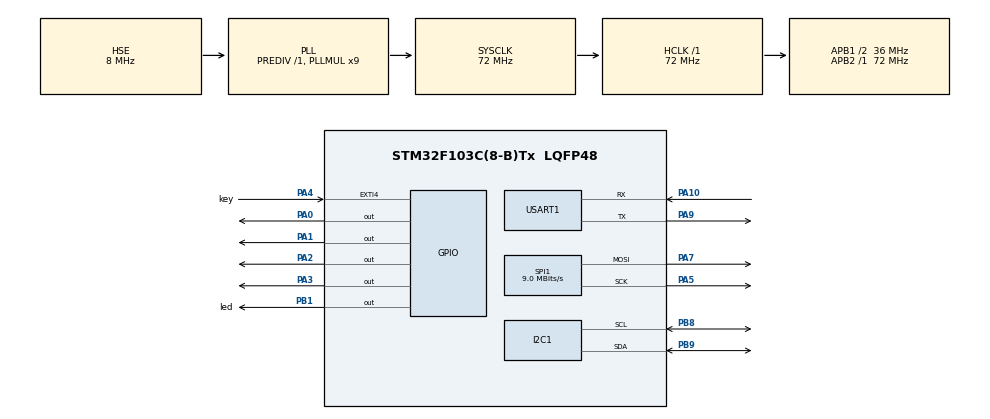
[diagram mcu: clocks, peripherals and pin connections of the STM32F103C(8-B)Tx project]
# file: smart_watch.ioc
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FREERTOS.Queues01=algo_q,8,1,1,Dynamic,NULL,NULL;ui_q,16,1,1,Dynamic,NULL,NULL
FREERTOS.Tasks01=ble,16,256,StartBleTask,Default,NULL,Dynamic,NULL,NULL;algo,40,128,StartAlgoTask,Default,NULL,Dynamic,NULL,NULL;key,32,128,StartKeyTask,Default,NULL,Dynamic,NULL,NULL;ui,24,256,StartUiTask,Default,NULL,Dynamic,NULL,NULL;wdg,8,128,StartWdgTask,Default,NULL,Dynamic,NULL,NULL
FREERTOS.configTOTAL_HEAP_SIZE=10240
I2C1.I2C_Mode=I2C_Fast
IWDG.Prescaler=IWDG_PRESCALER_64
IWDG.Reload=2500
Mcu.Family=STM32F1
Mcu.Name=STM32F103C(8-B)Tx
Mcu.Package=LQFP48
NVIC.EXTI4_IRQn=true\:5\:0\:false\:false\:true\:true\:true\:true\:true
NVIC.PriorityGroup=NVIC_PRIORITYGROUP_4
NVIC.TIM1_UP_IRQn=true\:15\:0\:false\:false\:true\:false\:false\:true\:true
NVIC.TimeBase=TIM1_UP_IRQn
NVIC.TimeBaseIP=TIM1
PA0-WKUP.PinState=GPIO_PIN_SET
PA0-WKUP.Signal=GPIO_Output
PA1.PinState=GPIO_PIN_SET
PA1.Signal=GPIO_Output
PA10.Mode=Asynchronous
PA10.Signal=USART1_RX
PA13.Mode=Serial_Wire
PA13.Signal=SYS_JTMS-SWDIO
PA14.Mode=Serial_Wire
PA14.Signal=SYS_JTCK-SWCLK
PA2.PinState=GPIO_PIN_SET
PA2.Signal=GPIO_Output
PA3.PinState=GPIO_PIN_SET
PA3.Signal=GPIO_Output
PA4.GPIO_Label=key
PA4.GPIO_PuPd=GPIO_PULLDOWN
PA4.Signal=GPXTI4
PA5.Mode=TX_Only_Simplex_Unidirect_Master
PA5.Signal=SPI1_SCK
PA7.Mode=TX_Only_Simplex_Unidirect_Master
PA7.Signal=SPI1_MOSI
PA9.Mode=Asynchronous
PA9.Signal=USART1_TX
PB1.GPIO_Label=led
PB1.GPIO_PuPd=GPIO_PULLUP
PB1.PinState=GPIO_PIN_SET
PB1.Signal=GPIO_Output
PB8.Mode=I2C
PB8.Signal=I2C1_SCL
PB9.Mode=I2C
PB9.Signal=I2C1_SDA
PD0-OSC_IN.Mode=HSE-External-Oscillator
PD0-OSC_IN.Signal=RCC_OSC_IN
PD1-OSC_OUT.Mode=HSE-External-Oscillator
PD1-OSC_OUT.Signal=RCC_OSC_OUT
ProjectManager.HeapSize=0x200
ProjectManager.StackSize=0x400
ProjectManager.TargetToolchain=STM32CubeIDE
RCC.AHBFreq_Value=72000000
RCC.APB1CLKDivider=RCC_HCLK_DIV2
RCC.APB1Freq_Value=36000000
RCC.APB1TimFreq_Value=72000000
RCC.APB2Freq_Value=72000000
RCC.APB2TimFreq_Value=72000000
RCC.HCLKFreq_Value=72000000
RCC.PLLMUL=RCC_PLL_MUL9
RCC.PLLSourceVirtual=RCC_PLLSOURCE_HSE
RCC.SYSCLKFreq_VALUE=72000000
RCC.SYSCLKSource=RCC_SYSCLKSOURCE_PLLCLK
RCC.USBFreq_Value=72000000
SPI1.BaudRatePrescaler=SPI_BAUDRATEPRESCALER_8
SPI1.CalculateBaudRate=9.0 MBits/s
SPI1.Direction=SPI_DIRECTION_2LINES
SPI1.Mode=SPI_MODE_MASTER
SPI1.VirtualType=VM_MASTER
USART1.VirtualMode=VM_ASYNC
VP_FREERTOS_VS_CMSIS_V2.Mode=CMSIS_V2
VP_IWDG_VS_IWDG.Mode=IWDG_Activate
VP_SYS_VS_tim1.Mode=TIM1
board=custom

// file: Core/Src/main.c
/* USER CODE BEGIN Header */
/**
  ******************************************************************************
  * @file           : main.c
  * @brief          : Main program body
  ******************************************************************************
  * @attention
  *
  * Copyright (c) 2026 STMicroelectronics.
  * All rights reserved.
  *
  * This software is licensed under terms that can be found in the LICENSE file
  * in the root directory of this software component.
  * If no LICENSE file comes with this software, it is provided AS-IS.
  *
  ******************************************************************************
  */
/* USER CODE END Header */
#include "main.h"
#include "cmsis_os.h"
#include "i2c.h"
#include "iwdg.h"
#include "usart.h"
#include "gpio.h"
#include "spi.h"

/* USER CODE BEGIN Includes */
#include "lcd.h"
#include "rtc_time.h"
#include "keys.h"
/* USER CODE END Includes */

/* USER CODE BEGIN PD */
/* 备份寄存器"签名"：只有读到它，才认为 DR1~DR9 里的数据是程序认真写过的 */
#define BKP_MAGIC   0x5A5Bu
/* USER CODE END PD */

/* USER CODE BEGIN PV */
volatile uint32_t g_bkp_dr1 = 0;      /* 备份寄存器 DR1 的镜像（调试用） */
volatile uint32_t g_rcc_csr = 0;      /* 复位原因快照（RCC->CSR 的镜像，调试用） */
volatile uint32_t g_last_dead_task = 0;   /* 上次复位前死掉的第几个任务（1 起；0=没死过） */
volatile uint32_t g_last_dead_secs = 0;   /* 它连续停滞了几秒 */
volatile uint32_t g_boot_loop_cnt   = 0;   /* 连续"没活够"的次数 */
volatile uint32_t g_boot_loop_guard = 0;   /* 1 = 判定疑似 boot loop（本步只观测） */
volatile uint32_t g_alive_sec          = 0;   /* 本次启动已经活了多少秒 */
volatile uint32_t g_boot_loop_healthy  = 0;   /* 1 = 已经上报"活够了" */
/* ↓↓↓ 诊断用：给"调度器启动前"这段打表（看门狗已在计时，这段必须短）↓↓↓ */
volatile uint32_t g_scan_ms  = 0;   /* 总线体检(i2c_selftest) 耗时 ms */
volatile uint32_t g_init_ms  = 0;   /* 显示初始化(lcd_init) 耗时 ms */
volatile uint32_t g_boot_ms  = 0;   /* main 从复位到"进调度器前"的总耗时 ms */
/* USER CODE END PV */

void SystemClock_Config(void);
void MX_FREERTOS_Init(void);

int main(void)
{

  /* MCU Configuration--------------------------------------------------------*/

  /* Reset of all peripherals, Initializes the Flash interface and the Systick. */
   HAL_Init();

  /* Configure the system clock */
  SystemClock_Config();

  /* Initialize all configured peripherals */
  MX_GPIO_Init();
  MX_SPI1_Init();
  MX_I2C1_Init();
  MX_USART1_UART_Init();
  /* MX_IWDG_Init(); ← 故意不在这里调用：看门狗一通电就开始数秒、中途没法暂停，
     而下面的启动体检最坏要跑好几秒，"开早了"的结果就是上电即复位的无限重启。
     已挪到本函数末尾 USER CODE BEGIN 2 里，见那里的说明。
     ⚠ 用 CubeMX 重新生成代码会把这一行加回来，届时记得再删掉一次。 */
  /* USER CODE BEGIN 2 */
  /* ---- 三个按键：PB5 / PB6 的 EXTI 配置 -------------------------------
   * 放在 USER CODE 区而不是 gpio.c：那边是 CubeMX 生成区，重新生成会丢。
   * PA4 已经在 MX_GPIO_Init() 里配好了，这里只补新增的两个。
   * ------------------------------------------------------------------ */
  keys_init();

  /* ---- 备份域：跨复位保留的自留地 ------------------------------------
   * ① 三个前提缺一不可，少一个就是"静默失败"（写不进去还不报错）
   * ② DR1 = 复位计数；DR10 = 签名；DR3/DR4 留给"死亡档案"（谁死的+停滞秒数）
   * ③ 备份寄存器实际只有低 16 位可用（头文件虽声明成 uint32_t）
   * ------------------------------------------------------------------ */
  __HAL_RCC_PWR_CLK_ENABLE();          /* 前提 1：PWR 时钟 */
  __HAL_RCC_BKP_CLK_ENABLE();          /* 前提 2：BKP 时钟 */
  HAL_PWR_EnableBkUpAccess();          /* 前提 3：解除备份域写保护（DBP 位） */

  /* ---- 时间子系统：★ 必须放在所有 BKP 读写之前 -------------------------
   * 原因：rtc_time_init() 在"备份域已经丢了、需要重新配置 RTC"时会执行
   * BDRST（备份域复位），而 BKP->DR1~DR10 就住在那个域里 —— 放后面会把
   * 复位计数、死亡档案、boot loop 计数统统抹掉。
   * 反过来放这里就没事：它只在真断电（那些数据本来也已经丢了）或者 RTC
   * 时钟源发生变化时才复位；软复位（看门狗复位是常态）时备份域还活着、
   * RTC 也还在走，它什么都不动。
   * ------------------------------------------------------------------ */
  rtc_time_init();

  if (BKP->DR10 != BKP_MAGIC)          /* 没读到签名 → 这份数据不可信 */
  {
    BKP->DR1  = 0;                     /* （首次上电 / 被清过）计数从 0 开始 */
    BKP->DR2 = 0;                      /* 连续次数一并作废（否则"改签名"重置不掉防护状态） */
    BKP->DR3  = 0;                     /* 死亡档案一并作废（0 = 无记录） */
    BKP->DR4  = 0;
    BKP->DR10 = BKP_MAGIC;             /* 打上签名：从此刻起数据有效 */
  }

  BKP->DR1++;                          /* 复位次数 +1 */
  g_bkp_dr1 = BKP->DR1;                /* 镜像到普通变量，供现场表达式观察 */
  g_last_dead_task = BKP->DR3;         /* 读上次的死亡档案：第几个任务（0 = 没死过） */
  g_last_dead_secs = BKP->DR4;         /*                       它停滞了几秒 */

  /* ---- 复位原因：硬件自动记录的"黑匣子" -------------------------------
   * bit27 PORRSTF  上电/掉电复位  ← 真正断过电才会有
   * bit29 IWDGRSTF 独立看门狗复位 ← 看门狗干的
   * bit26 PINRSTF  引脚复位（NRST 键 / 调试器复位）
   * bit28 SFTRSTF  软件复位；bit30 WWDGRSTF 窗口看门狗；bit31 LPWRRSTF 低功耗
   * 标志位是"粘滞"的，读一次就清一次，下次复位才判得准
   * ------------------------------------------------------------------ */
  g_rcc_csr = RCC->CSR;                /* 先快照（调试器求值不了 RCC，因为它也是宏） */
  RCC->CSR |= RCC_CSR_RMVF;            /* 再清标志（写 1 清），为下次复位做准备 */

  if (BKP->DR2 == BKP_HEALTHY)
  {
	  g_boot_loop_cnt = 1;
  }
  else
  {
	  g_boot_loop_cnt = BKP -> DR2 + 1;
  }
  BKP -> DR2 = (uint16_t)g_boot_loop_cnt;
  g_boot_loop_guard = (g_boot_loop_cnt >= BOOT_LOOP_MAX) ? 1u : 0u;

  /* 开机体检：I2C 总线上都有谁（结果看 g_i2c_found / g_i2c_addr1 /
   * g_i2c_addr2，本项目预期扫到 0x68 = MPU6050）。放在调度器启动前是白送的
   * —— 此刻没有任务，扫描最坏阻塞约 1 秒也不影响任何心跳。*/
  i2c_selftest();
  g_scan_ms = HAL_GetTick();           /* 诊断：进调度器前已耗时（体检含在内） */

  g_boot_ms = HAL_GetTick();           /* 诊断：main 到"进调度器前"的总耗时 */

  /* ---- 看门狗：等"系统准备好被监督"这一刻才武装 -------------------------
   * ① HAL_IWDG_Init() 一执行，IWDG 立刻开始倒数，装完就算、中途无法暂停；
   * ② 第一次喂狗要等 wdg 任务跑完 osDelay(1000)，所以留给
   *    "复位 → 调度器起来 + 1 s"的预算只有约 3 秒（IWDG 超时约 4 s）；
   * ③ 上面的启动体检最坏能吃掉好几秒（I2C 卡死时每个地址要白等 25 ms 的
   *    固定 BUSY 超时，112 个地址就是 2.8 s），一超就是"上电即复位"；
   * ④ 而且那次复位发生在调度器启动之前，wdg 任务永远跑不到，
   *    g_boot_loop_guard 那套 boot loop 防护也救不回来 —— 直接死循环。
   * 所以：启动逻辑全部跑完，再打开看门狗。
   * -------------------------------------------------------------------- */
  /* ---- 屏幕上电自检：黑 → 白 → 红 → 绿 → 蓝，各 0.25 秒 ----------------
   * 留着这段不是为了好看，它是个"不用调试器就能判断屏还活着"的探针：
   * 显示链路任何一环断了（背光、接触不良、SPI、初始化序列），上电一眼可见。
   * 而这套东西的 8 根杜邦线确实接触不良过一次，代价是查了小半天。
   *
   * 顺序也不是随便排的，"黑"放第一个是判读需要：
   *   ST7789 上电未经初始化时屏本身就是白的（GRAM 内容不定 + IPS 面板）；
   *   初始化完了但一个像素都没写进去、GRAM 全 0x0000 再被 INVON 反显，
   *   同样也是白的 —— 所以"看到白色"区分不了这两种情况，什么也证明不了。
   *   只有真的刷黑了，才说明 命令 → 窗口 → 像素 这条通路是通的。
   *
   * 放在 MX_IWDG_Init() 之前：这段阻塞正好落在"看门狗还没武装"的窗口里。
   * 别让看门狗和长阻塞共存于同一时间窗（09-26 的教训）。
   *
   * 发送次数 = 9(lcd_init) + 5 × 245(每次刷屏) = 1234，对照 g_spi_tx_ok 用。
   * -------------------------------------------------------------------- */
  uint32_t t_lcd = HAL_GetTick();
  lcd_init();
  g_init_ms = HAL_GetTick() - t_lcd;   /* 诊断：显示初始化耗时（含约 380 ms 的各种等待） */

  lcd_clear(LCD_BLACK); HAL_Delay(250);
  lcd_clear(LCD_WHITE); HAL_Delay(250);
  lcd_clear(LCD_RED);   HAL_Delay(250);
  lcd_clear(LCD_GREEN); HAL_Delay(250);
  lcd_clear(LCD_BLUE);  HAL_Delay(250);
  lcd_clear(LCD_BLACK);                /* 收在黑底：接下来 ui 任务直接在它上面画 */

  MX_IWDG_Init();
  /* USER CODE END 2 */

  /* Init scheduler */
  osKernelInitialize();  /* Call init function for freertos objects (in cmsis_os2.c) */
  MX_FREERTOS_Init();

  /* Start scheduler */
  osKernelStart();

  /* Infinite loop */
  while (1)
  {

  }
}

void SystemClock_Config(void)
{
  RCC_OscInitTypeDef RCC_OscInitStruct = {0};
  RCC_ClkInitTypeDef RCC_ClkInitStruct = {0};

  /** Initializes the RCC Oscillators according to the specified parameters
  * in the RCC_OscInitTypeDef structure.
  */
  RCC_OscInitStruct.OscillatorType = RCC_OSCILLATORTYPE_LSI|RCC_OSCILLATORTYPE_HSE;
  RCC_OscInitStruct.HSEState = RCC_HSE_ON;
  RCC_OscInitStruct.HSEPredivValue = RCC_HSE_PREDIV_DIV1;
  RCC_OscInitStruct.HSIState = RCC_HSI_ON;
  RCC_OscInitStruct.LSIState = RCC_LSI_ON;
  RCC_OscInitStruct.PLL.PLLState = RCC_PLL_ON;
  RCC_OscInitStruct.PLL.PLLSource = RCC_PLLSOURCE_HSE;
  RCC_OscInitStruct.PLL.PLLMUL = RCC_PLL_MUL9;
  if (HAL_RCC_OscConfig(&RCC_OscInitStruct) != HAL_OK)
  {
    Error_Handler();
  }

  /** Initializes the CPU, AHB and APB buses clocks
  */
  RCC_ClkInitStruct.ClockType = RCC_CLOCKTYPE_HCLK|RCC_CLOCKTYPE_SYSCLK
                              |RCC_CLOCKTYPE_PCLK1|RCC_CLOCKTYPE_PCLK2;
  RCC_ClkInitStruct.SYSCLKSource = RCC_SYSCLKSOURCE_PLLCLK;
  RCC_ClkInitStruct.AHBCLKDivider = RCC_SYSCLK_DIV1;
  RCC_ClkInitStruct.APB1CLKDivider = RCC_HCLK_DIV2;
  RCC_ClkInitStruct.APB2CLKDivider = RCC_HCLK_DIV1;

  if (HAL_RCC_ClockConfig(&RCC_ClkInitStruct, FLASH_LATENCY_2) != HAL_OK)
  {
    Error_Handler();
  }
}

void HAL_TIM_PeriodElapsedCallback(TIM_HandleTypeDef *htim)
{
  if (htim->Instance == TIM1)
  {
    HAL_IncTick();
  }
}

void Error_Handler(void)
{
  __disable_irq();
  while (1)
  {
  }
}

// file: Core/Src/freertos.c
/* USER CODE BEGIN Header */
/**
 ******************************************************************************
 * File Name          : freertos.c
 * Description        : Code for freertos applications
 ******************************************************************************
 * @attention
 *
 * Copyright (c) 2026 STMicroelectronics.
 * All rights reserved.
 *
 * This software is licensed under terms that can be found in the LICENSE file
 * in the root directory of this software component.
 * If no LICENSE file comes with this software, it is provided AS-IS.
 *
 ******************************************************************************
 */
/* USER CODE END Header */

#include "FreeRTOS.h"
#include "task.h"
#include "main.h"
#include "cmsis_os.h"

/* USER CODE BEGIN Includes */
#include "iwdg.h"
#include "app_events.h"
#include "mpu6050.h"
#include "i2c.h"
#include "lcd.h"
#include "step.h"
#include "rtc_time.h"
#include "keys.h"
/* USER CODE END Includes */

/* USER CODE BEGIN PTD */
typedef struct {
	const char *name; /* ── 配置 ── 任务名 */
	volatile uint32_t *hb; /* ── 配置 ── 监控谁 */
	uint32_t limit; /* ── 配置 ── 连续停滞几秒判定卡死 */
	uint32_t last; /* ── 状态 ── 上一秒快照 */
	uint32_t stall_sec; /* ── 状态 ── 连续停滞秒数 */
} hb_mon_t;
/* USER CODE END PTD */

/* USER CODE BEGIN PD */
/* 按键有效电平：PA4 配的是“上升沿 + 无上下拉”，即按下被外部拉到高电平 */
/* 如果板子实际是“按下接地”，改成 GPIO_PIN_RESET，并把 EXTI 触发沿改成下降沿 */
#define KEY_ACTIVE_LEVEL   GPIO_PIN_SET
#define KEY_SCAN_MS        20u    /* 按下后先等这么久再采样 = 消抖窗口 */
#define ALGO_PERIOD_MS     20u    /* algo 节拍，以后挂采样/滤波 */

/* ---- 屏幕布局（240x240）----------------------------------------------
 * 数字是照着 8x16 字库的格子算的，改之前先算一遍：
 *   一行 = 240/8 = 30 个字符，一屏 = 240/16 = 15 行。
 *   字号 scale=1 时一个字符占 8x16。
 * 三条柱状条纵向排开：36 / 100 / 164 起，各高 48，最低一条到 212，屏内。
 * -------------------------------------------------------------------- */
#define UI_TITLE_X     6u
#define UI_TITLE_Y     4u
#define UI_RULE_Y      26u      /* 标题下的分隔线 */

#define UI_BAR_X       22u      /* 柱状条左端 */
#define UI_BAR_W       140u     /* 条宽；中心线在正中，半宽 = 70 */
#define UI_BAR_H       48u      /* 条高 */
#define UI_BAR_Y0      36u      /* 第一条的顶边 */
#define UI_BAR_STEP    64u      /* 相邻两条的距离（48 高 + 16 空隙） */

#define UI_LABEL_X     4u       /* "X"/"Y"/"Z" 标签 */
#define UI_VALUE_X     172u     /* 数值区起点 */
#define UI_VALUE_W     64u      /* 数值区宽度（8 个字符），用来擦掉上次的残留 */

#define UI_INFO_X      6u       /* INFO 页标签列 */
#define UI_INFO_NUM_X  120u     /* INFO 页数值列 */
#define UI_INFO_NUM_W  88u      /* INFO 页数值区宽度（11 个字符），同样是拿来擦残留的 */
#define UI_INFO_Y0     40u
#define UI_INFO_STEP   22u
#define UI_INFO_LINES  9u       /* INFO 页行数。差分刷新要按行记住上一次的值 */

/* STEP 页：步数用大字号居中，下面三行是调阀值用的观测量 */
#define UI_STEP_NUM_Y  76u      /* 步数大字顶边 */
#define UI_STEP_NUM_H  48u      /* = 16 × UI_STEP_SCALE */
#define UI_STEP_SCALE   3u      /* 3 倍放大 → 24x48 一个字符，5 位数正好 120 px 宽 */
#define UI_STEP_DBG_Y  124u     /* 调试量起始行 */
#define UI_STEP_LINES   4u      /* 给底部的二次确认提示腾出一行 */

/* 二次确认提示那一行的位置 */
#define UI_HINT_Y      (UI_STEP_DBG_Y + 4u * UI_INFO_STEP)

/* ui_kv_line 的差分记账是 INFO / STEP 两页共用一个数组，用下标区间分开 */
#define UI_KV_LINES    (UI_INFO_LINES + UI_STEP_LINES)
#define UI_KV_STEP     UI_INFO_LINES    /* STEP 页的起始下标（跟着 INFO 行数走，别写死） */

/* CLOCK 页：时间用大字号，日期在下面 */
#define UI_CLK_TIME_Y      58u      /* HH:MM:SS 顶边 */
#define UI_CLK_TIME_SCALE   3u      /* 3 倍 → 24x48；8 个字符正好 192 px 宽 */
#define UI_CLK_DATE_Y     130u
#define UI_CLK_DATE_SCALE   2u      /* 2 倍 → 16x32；10 个字符 = 160 px 宽 */
#define UI_CLK_WDAY_Y     184u

/* ---- 菜单卡片 ---------------------------------------------------------
 * 一个细分页面 = 一张卡片。三张竖排，选中的用青色边框 + 白字，
 * 没选中的压暗。48 高 + 8 间隔，三张占 44~204，屏内。 */
#define UI_CARD_X       20u
#define UI_CARD_W      200u
#define UI_CARD_H       48u
#define UI_CARD_Y0      44u
#define UI_CARD_STEP    56u
#define UI_CARD_BORDER   2u

#define UI_TEXT_DY     16u      /* 条内标签/数值的纵向偏移：条高 48、字高 16，正好居中 */

/* 数值文字的死区（LSB）。不加它的话，静止时加速度那 ±1 的抖动会让文字
 * 每帧重画一次，看上去就是数字在原地抖 —— 比不刷新更难受。 */
#define UI_VALUE_DEADBAND  16

/* ui 循环节拍。50 ms 是差分刷新之后才敢用的：一帧的 SPI 传输量从约 70 KB
 * 降到几百字节，才轮得到聊"跟不跟手"。之前 200 ms 一帧光刷屏就占掉一半时间。 */
#define UI_PERIOD_MS   50u
/* USER CODE END PD */

/* USER CODE BEGIN Variables */
/* ---- 心跳：每个任务各一个，调试器里挂 Live Expressions 看谁死了 ---- */
volatile uint32_t g_hb_algo = 0;
volatile uint32_t g_hb_key = 0;
volatile uint32_t g_hb_ui = 0;
volatile uint32_t g_hb_ble = 0;
volatile uint32_t g_hb_wdg = 0;

/* ---- 队列收发统计：g_evt_sent 应当 ≈ g_evt_recv ---- */
volatile uint32_t g_evt_sent = 0; /* 成功放进队列的次数   */
volatile uint32_t g_evt_recv = 0; /* 成功取出的次数       */
volatile uint32_t g_evt_putfail = 0; /* 队列满、发失败的次数 */
volatile uint32_t g_evt_unknown = 0; /* 收到不认识的事件码   */
volatile uint32_t g_evt_err = 0; /* 其它错误码           */
volatile uint32_t g_evt_timeout = 0; /* M2 遗留：algo 改成非阻塞 drain 后就没用了，M3 重写完可删 */

/* ---- M3 按键链路 4 级流水，卡在哪一级一眼就看出来 ---- */
volatile uint32_t g_key_irq = 0; /* ① EXTI 中断次数（含抖动） */
volatile uint32_t g_key_bounce = 0; /* ② 消抖吃掉的毛刺 / 抖完自己弹回 */
volatile uint32_t g_key_evt = 0; /* ③ 确认成立并投进 algo_q 的按键 */
volatile uint32_t g_algo_key = 0; /* ④ algo 处理掉的按键事件 */
volatile uint8_t  g_mpu_who = 0;   /* 芯片自报身份，期望 0x68 */
volatile uint32_t g_mpu_err = 0;   /* 非 HAL_OK 的次数，期望 0*/
volatile uint32_t g_mpu_st  = 0;   /* 最近一次的 HAL */

 /* ---- ui 侧 ---- */
volatile uint32_t g_ui_evt = 0; /* ui 收到的事件数 */
volatile uint32_t g_ui_refresh = 0; /* 预留：ui 真正画完一屏的次数（目前还没有人给它赋值） */
volatile uint32_t g_ui_timeout = 0; /* ui 超时醒来的次数（正常） */
volatile uint32_t g_ui_put = 0; /* key 成功投进 ui_q 的次数 */
volatile uint32_t g_ui_putfail = 0; /* ui_q 满、投失败的次数   */
volatile uint32_t g_dead_secs = 0; /* 有过"被判死任务"的秒数 */
#ifdef DEBUG
volatile uint32_t g_force_dead = 0; /* 调试钩子：置 1 假装有任务卡死（仅 Debug 构建存在） */
#endif
volatile uint32_t g_wdg_degraded = 0; /* 带病喂狗秒数：dead > 0 但因 guard 被豁免的次数 */
volatile int16_t g_ax = 0;
volatile int16_t g_ay = 0;
volatile int16_t g_az = 0;
volatile int16_t g_axf = 0;
volatile int16_t g_ayf = 0;
volatile int16_t g_azf = 0;
hb_mon_t g_mon[] = {
  { .name = "algo", .hb = &g_hb_algo, .limit = 2 },
  { .name = "ui",   .hb = &g_hb_ui,   .limit = 2 },
  { .name = "ble",  .hb = &g_hb_ble,  .limit = 3 },
};

/* ---- UI 页面模型 ---------------------------------------------------
 * 页面数量由"有独立数据可展示"决定，不拍脑袋加。
 * PAGE_MAX 是哨兵：它自己不是页面，只用来取模 / 设边界。
 * ------------------------------------------------------------------ */

 typedef enum {
	 PAGE_CLOCK = 0,     /* 时间 —— ★ 主页 */
	 PAGE_STEP,          /* 步数 */
	 PAGE_ACCEL,         /* 三轴柱状条（原来的 HOME） */
	 PAGE_INFO,          /* 系统状态 */
	 PAGE_MAX
 } page_id_t;

 /* ── UI 三个状态 ────────────────────────────────────────────────────────
  * 组长说过的那套导航：
  *   主页(时间)  --任意键-->  菜单(卡片)  --左右选、中键进-->  细分页
  *   细分页里三个键换语义：左=返回上一步、中=确认、右=回到主页
  * ------------------------------------------------------------------- */
 typedef enum {
	 UI_MODE_MAIN = 0,   /* 主页：时间 */
	 UI_MODE_MENU,       /* 菜单：卡片选择 */
	 UI_MODE_DETAIL      /* 细分页 */
 } ui_mode_t;

 /* 菜单里能选哪几页。时间不在其中 —— 它本身就是主页。 */
 typedef enum {
	 MENU_STEP = 0,
	 MENU_ACCEL,
	 MENU_INFO,
	 MENU_MAX
 } menu_id_t;

 static const uint8_t s_menu_pages[MENU_MAX] = { PAGE_STEP, PAGE_ACCEL, PAGE_INFO };
 static const char *const s_menu_names[MENU_MAX] = { "步数", "三轴", "系统" };

 /* 二次确认的窗口：第一次按只提示，这段时间内再按才真的执行。
  * 之所以要做：步数清零是不可逆的，按一下就丢数据太危险。 */
 #define UI_CONFIRM_MS   3000u

volatile uint32_t g_ui_page    = 0;  /* 当前页面编号（镜像，供观测） */
volatile uint32_t g_ui_page_sw = 0;  /* 累计切换次数 */
volatile uint32_t g_ui_mode    = 0;  /* UI_MODE_MAIN / MENU / DETAIL */
volatile uint32_t g_ui_menu_sel = 0; /* 菜单里选中的第几项 */
volatile uint32_t g_ui_detail  = 0;  /* 细分页对应的菜单下标 */

#define MON_COUNT (sizeof(g_mon) / sizeof(g_mon[0]))

volatile uint32_t g_stall_any = 0; /* 本秒有几个任务停滞（0 = 全健康） */

osSemaphoreId_t key_semHandle;
const osSemaphoreAttr_t key_sem_attributes = { .name = "key_sem" };
osMutexId_t i2c_mutexHandle;
const osMutexAttr_t i2c_mutex_attributes = { .name = "i2c_mutex" };

/* USER CODE END Variables */
/* Definitions for ble */
osThreadId_t bleHandle;
const osThreadAttr_t ble_attributes = {
  .name = "ble",
  .stack_size = 256 * 4,
  .priority = (osPriority_t) osPriorityBelowNormal,
};
/* Definitions for algo */
osThreadId_t algoHandle;
const osThreadAttr_t algo_attributes = {
  .name = "algo",
  .stack_size = 128 * 4,
  .priority = (osPriority_t) osPriorityHigh,
};
/* Definitions for key */
osThreadId_t keyHandle;
const osThreadAttr_t key_attributes = {
  .name = "key",
  .stack_size = 128 * 4,
  .priority = (osPriority_t) osPriorityAboveNormal,
};
/* Definitions for ui */
osThreadId_t uiHandle;
const osThreadAttr_t ui_attributes = {
  .name = "ui",
  /* ★ 从 256 加到 320。原因：ui 现在的调用链一路要走到
   * lcd_draw_str → lcd_draw_char → st7789_fill_rect → st_set_window →
   * HAL_SPI_Transmit，用 -fstack-usage 量出来光链子本身就约 300 字节，
   * 还要加上 HAL 内部开销和中断压栈。256 字（1KB）没溢出，但余量只剩一倍多，
   * 而 configCHECK_FOR_STACK_OVERFLOW 没开 —— 栈溢出在 F103 上是静默踩内存，
   * 表现为莫名其妙的死机，不值得为省 256 字节冒这个险。
   * heap 总共 10KB、只用了约 4.4KB，加这 256 字节绰绰有余。
   * ⚠ CubeMX 重新生成代码会把它改回 256，届时记得再改一次。 */
  .stack_size = 320 * 4,
  .priority = (osPriority_t) osPriorityNormal,
};
/* Definitions for wdg */
osThreadId_t wdgHandle;
const osThreadAttr_t wdg_attributes = {
  .name = "wdg",
  .stack_size = 128 * 4,
  .priority = (osPriority_t) osPriorityLow,
};
/* Definitions for algo_q */
osMessageQueueId_t algo_qHandle;
const osMessageQueueAttr_t algo_q_attributes = {
  .name = "algo_q"
};
/* Definitions for ui_q */
osMessageQueueId_t ui_qHandle;
const osMessageQueueAttr_t ui_q_attributes = {
  .name = "ui_q"
};

/* USER CODE BEGIN FunctionPrototypes */
static void death_log_save(void);   /* 停喂前把"死因"写进备份寄存器 */
static void ui_invalidate(void);
static void ui_render(void);
static void ui_handle_key(evt_t ev);
static void ui_confirm_tick(void);
static void ui_bar_update(uint8_t idx, uint16_t y, char label, int16_t v);
static void ui_confirm_hint(void);
static void ui_kv_line(uint8_t idx, uint16_t y, const char *label, uint32_t value);
static void ui_step_page(void);
static void ui_info_page(void);
static void ui_clock_page(void);
static void ui_accel_page(void);
static void ui_menu_page(void);
static const char *ui_title_of(uint8_t page);
static void ui_page_body(uint8_t page);
static void ui_two(char *p, uint8_t v);
static void ui_rtc_line(uint16_t y);
/* USER CODE END FunctionPrototypes */

void StartBleTask(void *argument);
void StartAlgoTask(void *argument);
void StartKeyTask(void *argument);
void StartUiTask(void *argument);
void StartWdgTask(void *argument);

void MX_FREERTOS_Init(void); /* (MISRA C 2004 rule 8.1) */

void MX_FREERTOS_Init(void) {

  /* USER CODE BEGIN RTOS_MUTEX */

	 i2c_mutexHandle = osMutexNew(&i2c_mutex_attributes);

  /* USER CODE END RTOS_MUTEX */

  /* USER CODE BEGIN RTOS_SEMAPHORES */
	key_semHandle = osSemaphoreNew(1u, 0u, &key_sem_attributes); /* 二值信号量，初始无信号 */
	/* add semaphores, ... */
  /* USER CODE END RTOS_SEMAPHORES */

  /* Create the queue(s) */
  /* creation of algo_q */
  algo_qHandle = osMessageQueueNew (8, 1, &algo_q_attributes);

  /* creation of ui_q */
  ui_qHandle = osMessageQueueNew (16, 1, &ui_q_attributes);

  /* Create the thread(s) */
  /* creation of ble */
  bleHandle = osThreadNew(StartBleTask, NULL, &ble_attributes);

  /* creation of algo */
  algoHandle = osThreadNew(StartAlgoTask, NULL, &algo_attributes);

  /* creation of key */
  keyHandle = osThreadNew(StartKeyTask, NULL, &key_attributes);

  /* creation of ui */
  uiHandle = osThreadNew(StartUiTask, NULL, &ui_attributes);

  /* creation of wdg */
  wdgHandle = osThreadNew(StartWdgTask, NULL, &wdg_attributes);

}

void StartBleTask(void *argument)
{
  /* USER CODE BEGIN StartBleTask */
	/* Infinite loop */
	for (;;) {
		osDelay(500);
		g_hb_ble++;
	}
  /* USER CODE END StartBleTask */
}

void StartAlgoTask(void *argument)
{
  /* USER CODE BEGIN StartAlgoTask */

	step_reset();                 /* 上电从 0 步开始，同时把重力基线置成 1g */

	evt_t rx = EVT_NONE; /* 收回来的 */
	 uint8_t who = 0;
	      HAL_StatusTypeDef st = mpu_who_am_i(&who);

	      g_mpu_st = st;
	      if (st == HAL_OK) { g_mpu_who = who; }
	      else              { g_mpu_err++;     }
	      if(g_mpu_st == HAL_OK) g_mpu_st = mpu_wakeup();
	/* Infinite loop */
	for (;;) {
		osDelay(20);
		g_hb_algo++;
		int16_t ax,ay,az;
		osMutexAcquire(i2c_mutexHandle, osWaitForever);
		HAL_StatusTypeDef r = mpu_read_accel(&ax, &ay, &az);
		osMutexRelease(i2c_mutexHandle);
		 if (r == HAL_OK)
		{
			g_ax = ax; g_ay = ay; g_az = az;
			g_axf += (g_ax - g_axf) / 8;
			g_ayf += (g_ay - g_ayf) / 8;
			g_azf += (g_az - g_azf) / 8;

			/* ★ 计步吃的是原始值 ax/ay/az，不是上面那三个低通值。
			 * 低通（系数 1/8，截止约 3 Hz）的本意是滤掉抖动、让柱状条看起来
			 * 稳一点，而步态的波动恰好就落在这个频段里 —— 拿 g_axf 去计步，
			 * 等于先把要测的东西滤掉了。这是整个接入里最容易接错的一根线。 */
			step_update(ax, ay, az, (uint16_t)ALGO_PERIOD_MS);
		}else{
			 g_mpu_err++;
		}

		while(osMessageQueueGet(algo_qHandle,&rx,NULL,0u) == osOK){
			g_evt_recv++;
			switch (rx) /* 再按事件码分派 */
			{
			case EVT_TICK: /* M2 阶段：什么都不用做 */
				break;
				/* M3 会在这里加：case EVT_KEY_PRESS: ...  */
			default:
				g_evt_unknown++;
				break;
			}
		}
	}
  /* USER CODE END StartAlgoTask */
}

void StartKeyTask(void *argument)
{
  /* USER CODE BEGIN StartKeyTask */
	/* Infinite loop */
	for (;;) {
		evt_t to_ui;
		key_id_t k;

		if (osSemaphoreAcquire(key_semHandle, osWaitForever) != osOK)
			continue;
		g_hb_key++;

		/* 消抖：先等过抖动窗口，再回头确认那个键还按着 */
		osDelay(KEY_SCAN_MS);

		/* 把窗口期内到达的其它中断吃掉 —— 否则它们会在下一轮立刻
		 * 触发一次"假按键" */
		while (osSemaphoreAcquire(key_semHandle, 0) == osOK) {
			g_key_bounce++;
		}

		k = keys_take();
		if (k == KEY_NONE) {
			g_key_bounce++;
			continue;
		}

		/* 抖完已经松开了 = 毛刺，丢掉 */
		if (keys_level(k) == 0u) {
			g_key_bounce++;
			continue;
		}

		switch (k) {
		case KEY_PREV: to_ui = EVT_KEY_PREV; break;
		case KEY_NEXT: to_ui = EVT_KEY_NEXT; break;
		case KEY_OK:   to_ui = EVT_KEY_OK;   break;
		default:       continue;
		}

		g_key_evt++;
		if (osMessageQueuePut(ui_qHandle, &to_ui, 0u, 0u) == osOK) {
			g_ui_put++;
		} else {
			g_ui_putfail++;
		}
	}
  /* USER CODE END StartKeyTask */
}

void StartUiTask(void *argument)
{
  /* USER CODE BEGIN StartUiTask */
	evt_t rx = EVT_NONE;
	uint8_t view_prev = 0xFFu;   /* 上一帧的界面标识（状态+页面）；0xFF = 还没画过 */

	ui_invalidate();             /* 开机第一帧必须走完整绘制 */
	/* Infinite loop */
	for (;;) {
		osStatus_t st = osMessageQueueGet(ui_qHandle, &rx, NULL, UI_PERIOD_MS);
		g_hb_ui++;

		if (st == osOK) {
			switch (rx) {
			/* 三个物理键。它们各自是什么意思，完全由 ui_handle_key
			 * 按当前状态决定 —— 队列这一层只负责把"是哪个键"送上来 */
			case EVT_KEY_PREV:
			case EVT_KEY_NEXT:
			case EVT_KEY_OK:
				g_ui_evt++;
				ui_handle_key(rx);
				break;
			/* 旧的笼统事件：当成"确认"处理，保留兼容 */
			case EVT_KEY_PRESS:
				g_ui_evt++;
				ui_handle_key(EVT_KEY_OK);
				break;
			default:
				g_evt_unknown++; /* 收到不认识的事件码，记一笔 */
				break;
			}
		}

		/* 界面标识 = 状态 + 页面。任何一项变了都要清一次内容区：
		 * 本屏没有 framebuffer，上一屏画过的东西不会自己消失。
		 * 只清内容区、不碰标题那一行以上，能省一点是一点。 */
		{
			uint8_t view = (uint8_t)(((uint8_t)g_ui_mode << 4) | (uint8_t)(g_ui_page & 0x0Fu));
			if (view != view_prev) {
				lcd_fill_rect(0u, UI_RULE_Y, LCD_W, (uint16_t)(LCD_H - UI_RULE_Y), LCD_BLACK);
				view_prev = view;
				ui_invalidate();
			}
		}

		/* 二次确认超时自动取消 */
		ui_confirm_tick();

		/* 屏幕走 SPI，不再碰 I2C，所以不需要 i2c_mutex 了。
		 * 注意：以后如果有第二个任务也要画屏，得给 SPI 配一把锁 ——
		 * 现在只有 ui 一个任务在写屏，所以先不加。 */
		ui_render();
		g_ui_refresh++;   /* 这个计数器一直是预留，现在真的有人给它赋值了 */
	}
  /* USER CODE END StartUiTask */
}

void StartWdgTask(void *argument)
{
  /* USER CODE BEGIN StartWdgTask */

	/* Infinite loop */
	for (;;) {
		osDelay(1000);
		/* 活着计时：wdg 任务每转一圈 = 1 秒 */

		g_hb_wdg++;
		uint32_t stalled = 0;
		uint32_t dead = 0;

		for (uint32_t i = 0; i < MON_COUNT; i++) {
			if (g_mon[i].last == *(g_mon[i].hb)) {
				g_mon[i].stall_sec++;
				stalled++;

			} else {
				g_mon[i].last = *(g_mon[i].hb);
				g_mon[i].stall_sec = 0;

			}
			if (g_mon[i].stall_sec >= g_mon[i].limit) {
				dead++;
			}

		}
#ifdef DEBUG
		if (g_force_dead) {
			g_mon[0].stall_sec = g_mon[0].limit;   /* 伪造：让 1 号任务"看起来已判死" */
			dead++;                                /* 并让"有死件"成立 */
		}
#endif
		g_stall_any = stalled;
		if (dead > 0) {
			g_dead_secs++;
			death_log_save();                      /* 留证据：复位后还能复盘是谁害的 */
		}
		if (dead == 0 || g_boot_loop_guard) {
			HAL_IWDG_Refresh(&hiwdg);
			if (g_boot_loop_guard)
				g_wdg_degraded++;              /* 只数"带病喂狗"（正常喂狗不计数） */
		}
		if (g_alive_sec < HEALTHY_SEC)
				      g_alive_sec++;

				  if (g_alive_sec == HEALTHY_SEC
					  && dead == 0
					  && !g_boot_loop_healthy)      /* 活够了 —— 上报一次 */
				  {
				      BKP->DR2 = BKP_HEALTHY;   /* 盖上"够本"印章：跨复位保留，证明这次活够了 */
				      g_boot_loop_healthy  = 1; /* 镜像：本次启动已上报 */
				      g_boot_loop_guard    = 0; /* 活够了 → 撤销 boot loop 判定 */
				  }
	}

  /* USER CODE END StartWdgTask */
}

/* USER CODE BEGIN Application */

/* ---- 死亡档案：停喂前把"谁死了 + 停滞几秒"写进备份寄存器 ----------
 * 复位后由 main() 读出（DR3/DR4 跨复位保留），于是你能回答：
 *     "algo 连续停滞 7 秒 → 看门狗复位系统"
 * 只记第一个判死的任务，避免多个任务同时卡死时互相覆盖。
 * 注意：DR3/DR4 实际只有 16 位，够用（任务数 < 65535，秒数 < 65535）
 * ------------------------------------------------------------------ */
static void death_log_save(void)
{
	for (uint32_t i = 0; i < MON_COUNT; i++)
	{
		if (g_mon[i].stall_sec >= g_mon[i].limit)
		{
			BKP->DR3 = (uint16_t)(i + 1u);              /* 第几个任务（1 起；0 = 无记录） */
			BKP->DR4 = (uint16_t)(g_mon[i].stall_sec);  /* 它连续停滞了多少秒 */
			break;
		}
	}
}

/* ---- UI 状态：差分刷新 ------------------------------------------------
 * 屏幕没有 framebuffer，往上面写的每一个字节都是立刻可见的。所以"每帧
 * 无脑重绘整块"的代价不只是慢 —— 柱状条区域每帧被填一次底色再重画，
 * 肉眼看到的就是周期性频闪。这个坑是在实机上跑出来之后才补的。
 *
 * 做法：把上一次画出来的形状记住，这一帧只写"和上次不一样"的那一段。
 * 结果是静止时屏幕完全不动，动的时候也只有变化的那几列在更新。
 *
 * ⚠ 所有状态都必须在换页时作废（ui_invalidate）。否则新页会拿着上一页
 *   的记录去做差分，该画的没画，屏幕上就是一片残缺。
 * -------------------------------------------------------------------- */
typedef struct {
	int16_t len;    /* 上次画出来的条长（带符号：负 = 往左），单位像素 */
	int16_t text;   /* 上次显示出来的数值，用来判断要不要重画文字 */
	uint8_t valid;  /* 0 = 这一条还没画过，静态部分要完整画一遍 */
} bar_state_t;

static bar_state_t s_bar[3];
static uint32_t s_info_prev[UI_KV_LINES];     /* 键值行的上一次值（INFO 与 STEP 两页共用） */
static uint32_t s_step_shown = 0xFFFFFFFFu;   /* 上次显示的步数；初值取一个不可能的值以强制首帧重画 */
static uint32_t s_rtc_shown  = 0xFFFFFFFFu;   /* 上次显示的 RTC 时钟源 */
static uint32_t s_menu_sel_shown = 0xFFFFFFFFu; /* 菜单上次高亮的是第几项 */
static uint8_t  s_confirm_pending = 0u;         /* 1 = 正在等"再按一次" */
static uint32_t s_confirm_deadline = 0u;        /* 二次确认超时时刻（HAL_GetTick） */
static uint8_t s_page_valid = 0u;             /* 0 = 当前页的静态部分还没画 */

static void ui_invalidate(void)
{
	for (uint8_t i = 0u; i < (uint8_t)(sizeof(s_bar) / sizeof(s_bar[0])); i++)
	{
		s_bar[i].valid = 0u;
	}
	s_page_valid = 0u;
	s_step_shown = 0xFFFFFFFFu;
	s_rtc_shown  = 0xFFFFFFFFu;
	s_menu_sel_shown = 0xFFFFFFFFu;
	s_confirm_pending = 0u;
}

static void ui_bar_update(uint8_t idx, uint16_t y, char label, int16_t v)
{
	char buf[12];
	bar_state_t *st = &s_bar[idx];
	int32_t half = (int32_t)(UI_BAR_W / 2u);   /* 70：半宽 */
	int32_t cx   = (int32_t)UI_BAR_X + half;   /* 92：中心线位置 */
	uint16_t ty  = (uint16_t)(y + UI_TEXT_DY);
	int32_t len, old, old_lo, old_hi, new_lo, new_hi;
	uint8_t redraw_text = 0u;

	/* 满量程 ±32768 映射到半边宽度。先夹住再画：滤波后的加速度偶尔会
	 * 超出量程，不夹的话条会画到框外面去，而越界窗口 ST7789 是整块丢弃的，
	 * 症状是"这一条突然整个不见了"。 */
	len = ((int32_t)v * half) / 32768;
	if (len >  half) len =  half;
	if (len < -half) len = -half;

	if (st->valid == 0u)
	{
		/* 首次进这一页：静态部分一次性画好，之后再也不碰它们 */
		lcd_draw_char(UI_LABEL_X, ty, label, LCD_WHITE, LCD_BLACK, 1u);
		lcd_fill_rect(UI_BAR_X, y, UI_BAR_W, UI_BAR_H, LCD_DARK);
		lcd_fill_rect((uint16_t)cx, y, 1u, UI_BAR_H, LCD_GREY);
		st->len = 0;
		st->valid = 1u;
		redraw_text = 1u;
	}
	else
	{
		int32_t d = (int32_t)v - (int32_t)st->text;
		if ((d > UI_VALUE_DEADBAND) || (d < -UI_VALUE_DEADBAND)) redraw_text = 1u;
	}

	/* ---- 条：只写变化的那一段 ----
	 * 条是从中心线往两边长的，所以把旧形状和新形状各截成 [左端, 0) 与
	 * [0, 右端) 两段分别比。永远只有三种情况：旧有新无（擦回底色）、
	 * 新有旧无（补画）、两边都有（不动）。一帧通常只写几列像素。 */
	if (st->len != (int16_t)len)
	{
		old    = st->len;
		old_lo = (old < 0) ? old : 0;
		old_hi = (old > 0) ? old : 0;
		new_lo = (len < 0) ? len : 0;
		new_hi = (len > 0) ? len : 0;

		if (old_lo < new_lo)
		{
			lcd_fill_rect((uint16_t)(cx + old_lo), (uint16_t)(y + 2u),
			              (uint16_t)(new_lo - old_lo), (uint16_t)(UI_BAR_H - 4u), LCD_DARK);
		}
		if (old_hi > new_hi)
		{
			lcd_fill_rect((uint16_t)(cx + new_hi), (uint16_t)(y + 2u),
			              (uint16_t)(old_hi - new_hi), (uint16_t)(UI_BAR_H - 4u), LCD_DARK);
		}

		/* 条往正方向起步时，上面那次擦除的区间正好从中心线开始，会把中心线
		 * 一起抹掉。补一笔最省事 —— 就 1x48 像素，比判断边界便宜得多。 */
		lcd_fill_rect((uint16_t)cx, y, 1u, UI_BAR_H, LCD_GREY);

		if (new_lo < old_lo)
		{
			lcd_fill_rect((uint16_t)(cx + new_lo), (uint16_t)(y + 2u),
			              (uint16_t)(old_lo - new_lo), (uint16_t)(UI_BAR_H - 4u), LCD_RED);
		}
		if (new_hi > old_hi)
		{
			lcd_fill_rect((uint16_t)(cx + old_hi), (uint16_t)(y + 2u),
			              (uint16_t)(new_hi - old_hi), (uint16_t)(UI_BAR_H - 4u), LCD_GREEN);
		}

		st->len = (int16_t)len;
	}

	if (redraw_text)
	{
		/* 大小先擦一块固定宽度再写：位数变少时（-12345 → -99）后面会留残影。
		 * 没有 framebuffer，屏幕不会自己刷新，残影得自己负责。 */
		lcd_fill_rect(UI_VALUE_X, ty, UI_VALUE_W, 16u, LCD_BLACK);
		lcd_format_int(buf, (int32_t)v);
		lcd_draw_str(UI_VALUE_X, ty, buf, LCD_WHITE, LCD_BLACK, 1u);
		st->text = v;
	}
}

/* 一行"标签 + 数值"。INFO 和 STEP 两页共用，靠 idx 区分各自的记账位置。
 * 标签只在换页后的第一帧画 —— 它永远不变，每帧重画只会让屏幕闪。 */
static void ui_kv_line(uint8_t idx, uint16_t y, const char *label, uint32_t value)
{
	char buf[12];

	if (s_page_valid == 0u)
	{
		lcd_draw_str(UI_INFO_X, y, label, LCD_GREY, LCD_BLACK, 1u);
	}
	else if (s_info_prev[idx] == value)
	{
		return;   /* 这一行的数没变，一个字都不用写 */
	}

	lcd_fill_rect(UI_INFO_NUM_X, y, UI_INFO_NUM_W, 16u, LCD_BLACK);
	lcd_format_int(buf, (int32_t)value);
	lcd_draw_str(UI_INFO_NUM_X, y, buf, LCD_WHITE, LCD_BLACK, 1u);
	s_info_prev[idx] = value;
}

static void ui_step_page(void)
{
	char buf[12];
	uint32_t n = step_count();
	uint16_t w, x;
	int32_t  d = g_step_dyn;

	if (d < 0) d = -d;   /* 显示幅度，符号没有意义 */

	/* 步数大字：先整块擦掉再居中画。位数一变（99 → 100）起点就跟着变，
	 * 不整块擦的话前一位会留下残影。整块是 240x48，但只在步数真的变了
	 * 的那一帧才动它 —— 走路时也就一两赫兹。 */
	if (s_page_valid == 0u || s_step_shown != n)
	{
		lcd_fill_rect(0u, UI_STEP_NUM_Y, LCD_W, UI_STEP_NUM_H, LCD_BLACK);
		lcd_format_int(buf, (int32_t)n);
		w = lcd_str_width(buf, UI_STEP_SCALE);
		x = (uint16_t)((LCD_W - w) / 2u);
		lcd_draw_str(x, UI_STEP_NUM_Y, buf, LCD_WHITE, LCD_BLACK, UI_STEP_SCALE);
		s_step_shown = n;
	}

	/* 下面三个是调阀值用的：正常走一段路，盯 PEAK —— 阈值要明显低于它，
	 * 又明显高于静止时的噪声底。REJ 在快速上涨说明阈值偏低。 */
	ui_kv_line((uint8_t)(UI_KV_STEP + 0u), (uint16_t)(UI_STEP_DBG_Y + 0u * UI_INFO_STEP), "DYN",   (uint32_t)d);
	ui_kv_line((uint8_t)(UI_KV_STEP + 1u), (uint16_t)(UI_STEP_DBG_Y + 1u * UI_INFO_STEP), "PEAK",  (uint32_t)g_step_dyn_peak);
	ui_kv_line((uint8_t)(UI_KV_STEP + 2u), (uint16_t)(UI_STEP_DBG_Y + 2u * UI_INFO_STEP), "REJ",   g_step_reject);
	ui_kv_line((uint8_t)(UI_KV_STEP + 3u), (uint16_t)(UI_STEP_DBG_Y + 3u * UI_INFO_STEP), "SHOCK", g_step_shock);

	/* 底下一行留给"再按一次清零"的提示。
	 * 它平时是空的，但空着也得管 —— 提示消失时要把这行擦掉。 */
	ui_confirm_hint();
}

/* RTC 时钟源那一行。为什么不用 ui_kv_line 直接显示数字：
 * 这一行的全部意义就是"一眼看出板子上那颗 32.768 kHz 晶振在不在"，
 * 而 0/1/2 得翻文档才知道含义 —— 不如直接写名字，再用颜色标出可信度。 */
static void ui_rtc_line(uint16_t y)
{
	static const char *const src_name[3] = { "NONE", "LSE", "LSI" };
	uint32_t v = (g_rtc_src < 3u) ? g_rtc_src : 0u;
	uint16_t color;

	if (s_page_valid == 0u)
	{
		lcd_draw_str(UI_INFO_X, y, "RTC SRC", LCD_GREY, LCD_BLACK, 1u);
	}
	else if (s_rtc_shown == v)
	{
		return;                 /* 没变，一个字都不用写 */
	}

	/* LSE 绿（准）／LSI 黄（能走但会漂）／NONE 红（两个都没起来，时间不可信） */
	color = (v == 1u) ? LCD_GREEN : ((v == 2u) ? LCD_YELLOW : LCD_RED);

	lcd_fill_rect(UI_INFO_NUM_X, y, UI_INFO_NUM_W, 16u, LCD_BLACK);
	lcd_draw_str(UI_INFO_NUM_X, y, src_name[v], color, LCD_BLACK, 1u);
	s_rtc_shown = v;
}

static void ui_info_page(void)
{
	/* INFO 页不放传感器数据，放"系统还在不在正常运转"的那几个数。
	 * 这些数以前只能接调试器挂现场表达式才看得到，现在按键翻一页就有
	 * —— 对一块要戴在手上的表来说，这才是它该有的观测方式。 */
	uint16_t y = UI_INFO_Y0;
	uint8_t  i = 0u;

	ui_kv_line(i++, y, "HB ALGO", g_hb_algo);   y = (uint16_t)(y + UI_INFO_STEP);
	ui_kv_line(i++, y, "HB UI",   g_hb_ui);     y = (uint16_t)(y + UI_INFO_STEP);
	ui_kv_line(i++, y, "HB WDG",  g_hb_wdg);    y = (uint16_t)(y + UI_INFO_STEP);
	ui_kv_line(i++, y, "STALL",   g_stall_any); y = (uint16_t)(y + UI_INFO_STEP);
	ui_kv_line(i++, y, "DEAD",    g_dead_secs); y = (uint16_t)(y + UI_INFO_STEP);
	ui_kv_line(i++, y, "I2C FND", g_i2c_found); y = (uint16_t)(y + UI_INFO_STEP);
	ui_rtc_line(y);
	y = (uint16_t)(y + UI_INFO_STEP);
	ui_kv_line(i++, y, "RTC SET", g_rtc_build); y = (uint16_t)(y + UI_INFO_STEP);
	ui_kv_line(i++, y, "RTC NOW", g_rtc_epoch);
}

/* 两位十进制。不用 sprintf —— 那会把 newlib 整个格式化库拉进固件，
 * 为一个两位数不值得（lcd_format_int 当初拒绝 sprintf 也是这个理由）。 */
static void ui_two(char *p, uint8_t v)
{
	p[0] = (char)('0' + ((v / 10u) % 10u));
	p[1] = (char)('0' + (v % 10u));
}

static void ui_clock_page(void)
{
	static const char *const wday_name[7] = {
		"SUN", "MON", "TUE", "WED", "THU", "FRI", "SAT"
	};
	char     buf[12];
	rtc_tm_t tm;
	uint16_t w, x;

	rtc_to_tm(rtc_now(), &tm);

	/* ── 时间 HH:MM:SS ───────────────────────────────────────────────
	 * 这一行走的是"整行覆盖重画"而不是差分：秒每秒都在变，而且宽度
	 * 固定 8 个字符、不会出现位数变化留下的残影，所以直接盖上去就行 ——
	 * 覆盖式重画在同一位置不会闪，比"先擦后画"还干净。 */
	ui_two(&buf[0], tm.hour);
	buf[2] = ':';
	ui_two(&buf[3], tm.min);
	buf[5] = ':';
	ui_two(&buf[6], tm.sec);
	buf[8] = '\0';

	w = lcd_str_width(buf, UI_CLK_TIME_SCALE);
	x = (uint16_t)((LCD_W - w) / 2u);
	lcd_draw_str(x, UI_CLK_TIME_Y, buf, LCD_WHITE, LCD_BLACK, UI_CLK_TIME_SCALE);

	/* ── 日期 YYYY-MM-DD ─────────────────────────────────────────── */
	buf[0] = (char)('0' + ((tm.year / 1000u) % 10u));
	buf[1] = (char)('0' + ((tm.year / 100u) % 10u));
	buf[2] = (char)('0' + ((tm.year / 10u) % 10u));
	buf[3] = (char)('0' + (tm.year % 10u));
	buf[4] = '-';
	ui_two(&buf[5], tm.month);
	buf[7] = '-';
	ui_two(&buf[8], tm.day);
	buf[10] = '\0';

	w = lcd_str_width(buf, UI_CLK_DATE_SCALE);
	x = (uint16_t)((LCD_W - w) / 2u);
	lcd_draw_str(x, UI_CLK_DATE_Y, buf, LCD_GREY, LCD_BLACK, UI_CLK_DATE_SCALE);

	/* ── 星期 ─────────────────────────────────────────────────────── */
	lcd_draw_str(UI_TITLE_X, UI_CLK_WDAY_Y, wday_name[tm.wday % 7u],
	             LCD_CYAN, LCD_BLACK, 1u);
}

/* 三条加速度柱状条。它原来是"主页"，现在降级成菜单里的一项 ——
 * 本质上这是个调试视图，不该占着主页的位置。 */
static void ui_accel_page(void)
{
	ui_bar_update(0u, (uint16_t)(UI_BAR_Y0 + 0u * UI_BAR_STEP), 'X', g_axf);
	ui_bar_update(1u, (uint16_t)(UI_BAR_Y0 + 1u * UI_BAR_STEP), 'Y', g_ayf);
	ui_bar_update(2u, (uint16_t)(UI_BAR_Y0 + 2u * UI_BAR_STEP), 'Z', g_azf);
}

static const char *ui_title_of(uint8_t page)
{
	switch (page)
	{
	case PAGE_STEP:  return "步数";
	case PAGE_ACCEL: return "三轴";
	case PAGE_INFO:  return "系统";
	default:         return "时间";     /* PAGE_CLOCK */
	}
}

/* 画具体页面的内容（标题由 ui_render 统一处理） */
static void ui_page_body(uint8_t page)
{
	switch (page)
	{
	case PAGE_STEP:  ui_step_page();  break;
	case PAGE_ACCEL: ui_accel_page(); break;
	case PAGE_INFO:  ui_info_page();  break;
	default:         ui_clock_page(); break;
	}
}

/* 一张菜单卡片。选中的：青色边框 + 白字；没选中的：暗边框 + 灰字。
 * 边框是靠"整块填边框色、再把内部挖成背景色"画出来的 —— 比画四条边省事，
 * 而且圆角没有、方块感正好和这个字库搭。 */
static void ui_card(uint16_t y, const char *label, uint8_t selected)
{
	uint16_t border = (selected != 0u) ? LCD_CYAN : LCD_DARK;
	uint16_t fg     = (selected != 0u) ? LCD_WHITE : LCD_GREY;
	uint16_t w, x;

	lcd_fill_rect(UI_CARD_X, y, UI_CARD_W, UI_CARD_H, border);
	lcd_fill_rect((uint16_t)(UI_CARD_X + UI_CARD_BORDER),
	              (uint16_t)(y + UI_CARD_BORDER),
	              (uint16_t)(UI_CARD_W - 2u * UI_CARD_BORDER),
	              (uint16_t)(UI_CARD_H - 2u * UI_CARD_BORDER), LCD_BLACK);

	/* 用汉字宽度算 —— 菜单项都是中文，用 lcd_str_width 会按一个字节一个
	 * 字符去数，宽度直接算错、字也排不到中间。 */
	w = lcd_hz_str_width(label, 2u);
	x = (uint16_t)(UI_CARD_X + (UI_CARD_W - w) / 2u);
	lcd_draw_hz_str(x, (uint16_t)(y + 8u), label, fg, LCD_BLACK, 2u);
}

static void ui_menu_page(void)
{
	uint8_t sel = (uint8_t)(g_ui_menu_sel % MENU_MAX);
	uint8_t i;

	if (s_page_valid == 0u)
	{
		/* 刚进菜单：标题 + 三张卡片全画 */
		lcd_draw_hz_str(UI_TITLE_X, UI_TITLE_Y, "菜单", LCD_CYAN, LCD_BLACK, 1u);
		lcd_fill_rect(0u, UI_RULE_Y, LCD_W, 1u, LCD_GREY);
		for (i = 0u; i < (uint8_t)MENU_MAX; i++)
		{
			ui_card((uint16_t)(UI_CARD_Y0 + i * UI_CARD_STEP),
			        s_menu_names[i], (uint8_t)(i == sel));
		}
		s_menu_sel_shown = sel;
		return;
	}

	if (s_menu_sel_shown == sel)
	{
		return;                      /* 选择没动，一个字都不用写 */
	}

	/* 只有"原来选中的"和"现在选中的"这两张要重画 ——
	 * 每按一次就把三张全刷一遍是没必要的 */
	if (s_menu_sel_shown < (uint32_t)MENU_MAX)
	{
		ui_card((uint16_t)(UI_CARD_Y0 + s_menu_sel_shown * UI_CARD_STEP),
		        s_menu_names[s_menu_sel_shown], 0u);
	}
	ui_card((uint16_t)(UI_CARD_Y0 + sel * UI_CARD_STEP), s_menu_names[sel], 1u);
	s_menu_sel_shown = sel;
}

/* 二次确认超时检查，由 ui 任务每帧调用一次。
 *
 * 为什么必须做：不做的话提示会一直挂在屏幕上，而且隔了半小时再按一次确认
 * 会被当成"第二下"，把步数清掉 —— 那两次按键在用户看来毫无关系。
 * 另外这几个状态变量定义在 UI 实现区（比较靠后），所以这个检查也放在这里、
 * 由 StartUiTask 调用，而不是在 StartUiTask 里直接访问它们。 */
static void ui_confirm_tick(void)
{
	if ((s_confirm_pending != 0u) &&
	    ((int32_t)(HAL_GetTick() - s_confirm_deadline) >= 0))
	{
		s_confirm_pending = 0u;
		ui_invalidate();
	}
}

/*
 * 二次确认提示。
 *
 * ⚠ 注意"不显示"也是一种状态：提示消失时必须主动把这行擦掉。
 *   本屏没有 framebuffer，不擦的话"再按确认清零"会一直留在屏幕上。
 */
static void ui_confirm_hint(void)
{
	static uint8_t shown = 0u;

	if (s_confirm_pending != 0u)
	{
		lcd_fill_rect(0u, UI_HINT_Y, LCD_W, 16u, LCD_BLACK);
		lcd_draw_hz_str(UI_TITLE_X, UI_HINT_Y, "再按确认清零", LCD_YELLOW, LCD_BLACK, 1u);
		shown = 1u;
	}
	else if (shown != 0u)
	{
		lcd_fill_rect(0u, UI_HINT_Y, LCD_W, 16u, LCD_BLACK);
		shown = 0u;
	}
	else
	{
		/* 一直是空的，什么都不用做 */
	}
}

/*
 * 细分页里按"确认"要做什么。
 *
 * ★ 步数清零做成了**二次确认**：第一次按只弹提示，3 秒内再按一次才真的清。
 *   原来的实现是一按就清 —— 那是个危险的交互，用户想"确认"点什么，
 *   手一抖就把累积的步数弄没了，而且找不回来。计数类数据不该这样。
 */
static void ui_detail_action(uint8_t menu_idx)
{
	if (menu_idx != (uint8_t)MENU_STEP)
	{
		return;                      /* 其它页面暂时没有确认动作 */
	}

	if (s_confirm_pending == 0u)
	{
		/* 第一下：只记下"在等第二下"，不动任何数据 */
		s_confirm_pending  = 1u;
		s_confirm_deadline = HAL_GetTick() + UI_CONFIRM_MS;
		ui_invalidate();             /* 强制重画，把提示显示出来 */
		return;
	}

	/* 第二下：真的清 */
	step_reset();
	g_step_dyn_peak = 0;             /* 连峰值一起清，否则调参时看着别扭 */
	s_confirm_pending = 0u;
	ui_invalidate();
}

/*
 * 一次按键 = 一次状态迁移。语义完全由**当前状态**决定：
 *
 *   主页   ：任意键      → 进菜单
 *   菜单   ：左 / 右     → 上下选
 *             中          → 进入选中的页面
 *   细分页 ：左          → 返回上一步（回菜单）
 *             中          → 确认（页面自己的动作）
 *             右          → 回到主页
 *
 * 这就是你要的那套"三个键三种语义随页面切换"。物理键位始终是左-中-右，
 * 用户不用记"现在这个键是什么" —— 位置对了就行。
 */
static void ui_handle_key(evt_t ev)
{
	switch (g_ui_mode)
	{
	case (uint32_t)UI_MODE_MAIN:
		g_ui_mode     = (uint32_t)UI_MODE_MENU;
		g_ui_menu_sel = 0u;
		g_ui_page_sw++;
		break;

	case (uint32_t)UI_MODE_MENU:
		if (ev == EVT_KEY_PREV)
		{
			g_ui_menu_sel = (g_ui_menu_sel + (uint32_t)MENU_MAX - 1u) % (uint32_t)MENU_MAX;
		}
		else if (ev == EVT_KEY_NEXT)
		{
			g_ui_menu_sel = (g_ui_menu_sel + 1u) % (uint32_t)MENU_MAX;
		}
		else if (ev == EVT_KEY_OK)
		{
			g_ui_detail = g_ui_menu_sel;
			g_ui_mode   = (uint32_t)UI_MODE_DETAIL;
			g_ui_page   = s_menu_pages[g_ui_detail % (uint32_t)MENU_MAX];
		}
		else { /* 不认识的键 */ }
		g_ui_page_sw++;
		break;

	case (uint32_t)UI_MODE_DETAIL:
		if (ev == EVT_KEY_PREV)              /* 返回上一步 */
		{
			g_ui_mode = (uint32_t)UI_MODE_MENU;
		}
		else if (ev == EVT_KEY_NEXT)         /* 回到主页 */
		{
			g_ui_mode = (uint32_t)UI_MODE_MAIN;
			g_ui_page = (uint32_t)PAGE_CLOCK;
		}
		else if (ev == EVT_KEY_OK)           /* 确认 */
		{
			ui_detail_action((uint8_t)(g_ui_detail % (uint32_t)MENU_MAX));
		}
		else { /* 忽略 */ }
		g_ui_page_sw++;
		break;

	default:
		g_ui_mode = (uint32_t)UI_MODE_MAIN;  /* 状态坏了就回主页，别卡住 */
		break;
	}

	/* 界面变了，差分记账必须全部作废 —— 否则新界面会拿着旧记录去比，
	 * 该画的不画，屏幕上就是一片残缺。 */
	ui_invalidate();
}

static void ui_render(void)
{
	uint8_t page;

	/* 菜单是独立的一屏，标题也归它自己画 */
	if (g_ui_mode == (uint32_t)UI_MODE_MENU)
	{
		ui_menu_page();
		s_page_valid = 1u;
		return;
	}

	page = (g_ui_mode == (uint32_t)UI_MODE_MAIN)
	     ? (uint8_t)PAGE_CLOCK
	     : (uint8_t)s_menu_pages[g_ui_detail % (uint32_t)MENU_MAX];

	if (s_page_valid == 0u)
	{
		/* 换页后的第一帧才需要画标题和分隔线。它们之后一直不变，
		 * 每帧重画既浪费、又会让屏幕顶部跟着闪。 */
		lcd_draw_hz_str(UI_TITLE_X, UI_TITLE_Y, ui_title_of(page), LCD_CYAN, LCD_BLACK, 1u);
		lcd_fill_rect(0u, UI_RULE_Y, LCD_W, 1u, LCD_GREY);
	}

	ui_page_body(page);
	s_page_valid = 1u;
}

void HAL_GPIO_EXTI_Callback(uint16_t GPIO_Pin) {
	/* 三个键走同一条路：先让 keys 模块记下"是哪个键"，再放一次信号量。
	 * 消抖、判定、分发全都留给 key 任务 —— ISR 里只做最轻的两件事，
	 * 和原来只有一颗键时的处理方式一致。 */
	if ((GPIO_Pin == KEY_PREV_PIN) || (GPIO_Pin == KEY_NEXT_PIN) || (GPIO_Pin == KEY_OK_PIN)) {
		keys_isr(GPIO_Pin);
		g_key_irq++;
		osSemaphoreRelease(key_semHandle);
	}
}
/* USER CODE END Application */
